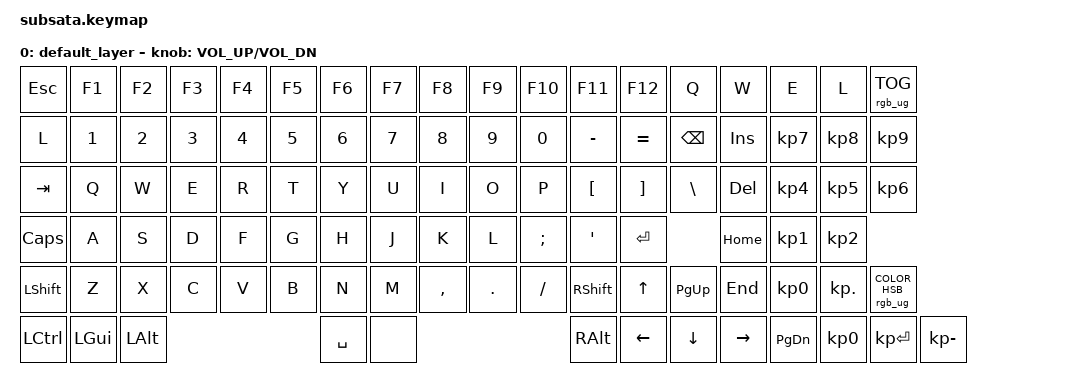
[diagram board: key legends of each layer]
#include <behaviors.dtsi>
#include <dt-bindings/zmk/keys.h>
#include <dt-bindings/zmk/bt.h>
#include <dt-bindings/zmk/rgb.h>

/ {
    keymap {
        compatible = "zmk,keymap";
        default_layer {
            bindings = <
                &kp ESC   &kp F1    &kp F2    &kp F3    &kp F4    &kp F5    &kp F6    &kp F7    &kp F8    &kp F9    &kp F10   &kp F11   &kp F12   &kp Q     &kp W     &kp E     &kp L   	 &rgb_ug RGB_TOG
                &kp L     &kp N1    &kp N2    &kp N3    &kp N4    &kp N5    &kp N6    &kp N7    &kp N8    &kp N9    &kp N0    &kp MINUS &kp EQUAL &kp BSPC  &kp INS   &kp KP_N7 &kp KP_N8    &kp KP_N9
                &kp TAB   &kp Q     &kp W     &kp E     &kp R     &kp T     &kp Y     &kp U     &kp I     &kp O     &kp P     &kp LBKT  &kp RBKT  &kp BSLH  &kp DEL   &kp KP_N4 &kp KP_N5    &kp KP_N6
                &kp CAPS  &kp A     &kp S     &kp D     &kp F     &kp G     &kp H     &kp J     &kp K     &kp L     &kp SEMI  &kp APOS  &kp RET             &kp HOME  &kp KP_N1 &kp KP_N2    
                &kp LSHFT &kp Z     &kp X     &kp C     &kp V     &kp B     &kp N     &kp M     &kp COMMA &kp DOT   &kp FSLH  &kp RSHFT &kp UP    &kp PG_UP &kp END   &kp KP_N0 &kp KP_DOT   &rgb_ug RGB_COLOR_HSB(128,100,100)
                &kp LCTRL &kp LGUI  &kp LALT                                &kp SPACE &none                                   &kp RALT  &kp LEFT  &kp DOWN  &kp RIGHT &kp PG_DN &kp KP_N0 &kp KP_ENTER &kp KP_MINUS
            >;
            
            sensor-bindings = <&inc_dec_kp C_VOL_UP C_VOL_DN>;
        };
    };
};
